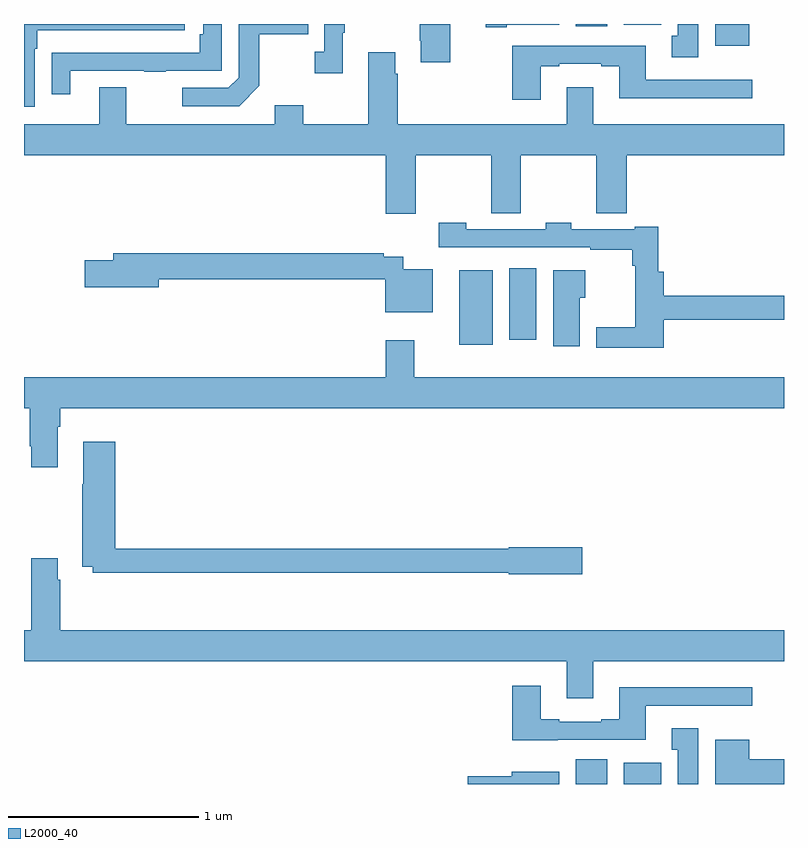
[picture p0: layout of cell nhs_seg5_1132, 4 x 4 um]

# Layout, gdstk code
import gdstk
lib = gdstk.Library(unit=1e-6, precision=1e-09)
def R(c, l, rs):  # rectangles x0, y0, x1, y1
    for r in rs: c.add(gdstk.rectangle(r[:2], r[2:], *l))
def P(c, l, *ps):  # polygons
    for p in ps: c.add(gdstk.Polygon(p, *l))
L2000_40 = (2000, 40)

nhs_seg5_1132 = lib.new_cell('nhs_seg5_1132')
R(nhs_seg5_1132, L2000_40, [(183.905,838.799,184.069,838.93), (184.157,838.799,184.354,838.912), (183.29,841.112,183.466,841.504), (183.554,841.137,183.697,841.513), (184.637,842.684,184.816,842.799), (183.905,842.787,184.069,842.799), (184.157,842.796,184.353,842.799)])
P(nhs_seg5_1132, L2000_40, [(183.541,842.795),(183.817,842.795),(183.817,842.799),(183.429,842.799),(183.429,842.783),(183.541,842.783)],
  [(182.677,842.753),(182.689,842.753),(182.689,842.799),(182.58,842.799),(182.58,842.654),(182.529,842.654),(182.529,842.541),(182.677,842.541)],
  [(183.244,842.799),(183.082,842.799),(183.082,842.71),(183.089,842.71),(183.089,842.598),(183.244,842.598)],
  [(181.056,842.669),(181.069,842.669),(181.069,842.766),(181.846,842.766),(181.846,842.799),(181,842.799),(181,842.364),(181.056,842.364)],
  [(184.549,842.799),(184.442,842.799),(184.442,842.737),(184.409,842.737),(184.409,842.625),(184.549,842.625)],
  [(182.239,842.473),(182.239,842.746),(182.495,842.746),(182.495,842.799),(182.13,842.799),(182.13,842.517),(182.076,842.463),(181.833,842.463),(181.833,842.367),(182.133,842.367)],
  [(181.243,842.553),(181.633,842.553),(181.633,842.548),(181.745,842.548),(181.745,842.553),(182.04,842.553),(182.04,842.799),(181.944,842.799),(181.944,842.746),(181.924,842.746),(181.924,842.649),(181.249,842.649),(181.249,842.648),(181.147,842.648),(181.147,842.43),(181.243,842.43)],
  [(183.721,842.577),(183.817,842.577),(183.817,842.589),(184.037,842.589),(184.037,842.577),(184.133,842.577),(184.133,842.408),(184.834,842.408),(184.834,842.505),(184.273,842.505),(184.273,842.685),(183.569,842.685),(183.569,842.4),(183.721,842.4)],
  [(183.063,842.108),(183.46,842.108),(183.46,841.804),(183.614,841.804),(183.614,842.108),(184.012,842.108),(184.012,841.804),(184.172,841.804),(184.172,842.108),(185,842.108),(185,842.272),(183.997,842.272),(183.997,842.467),(183.857,842.467),(183.857,842.272),(182.966,842.272),(182.966,842.537),(182.953,842.537),(182.953,842.65),(182.813,842.65),(182.813,842.272),(182.469,842.272),(182.469,842.371),(182.321,842.371),(182.321,842.272),(181.537,842.272),(181.537,842.467),(181.397,842.467),(181.397,842.272),(181,842.272),(181,842.108),(182.903,842.108),(182.903,841.8),(183.063,841.8)],
  [(184.367,841.242),(185,841.242),(185,841.37),(184.367,841.37),(184.367,841.495),(184.337,841.495),(184.337,841.732),(184.214,841.732),(184.214,841.719),(183.879,841.719),(183.879,841.752),(183.747,841.752),(183.747,841.719),(183.327,841.719),(183.327,841.752),(183.183,841.752),(183.183,841.623),(183.979,841.623),(183.979,841.611),(184.201,841.611),(184.201,841.526),(184.216,841.526),(184.216,841.204),(184.011,841.204),(184.011,841.094),(184.367,841.094)],
  [(183.151,841.507),(182.997,841.507),(182.997,841.575),(182.894,841.575),(182.894,841.592),(181.469,841.592),(181.469,841.556),(181.32,841.556),(181.32,841.414),(181.708,841.414),(181.708,841.456),(182.901,841.456),(182.901,841.283),(183.151,841.283)],
  [(183.925,841.357),(183.955,841.357),(183.955,841.504),(183.785,841.504),(183.785,841.104),(183.925,841.104)],
  [(181.177,840.68),(181.19,840.68),(181.19,840.776),(185,840.776),(185,840.94),(183.055,840.94),(183.055,841.135),(182.903,841.135),(182.903,840.94),(181,840.94),(181,840.776),(181.03,840.776),(181.03,840.577),(181.037,840.577),(181.037,840.465),(181.177,840.465)],
  [(183.937,840.044),(183.552,840.044),(183.552,840.038),(181.481,840.038),(181.481,840.601),(181.313,840.601),(181.313,840.377),(181.306,840.377),(181.306,839.942),(181.362,839.942),(181.362,839.91),(183.552,839.91),(183.552,839.902),(183.937,839.902)],
  [(183.997,839.444),(185,839.444),(185,839.608),(181.19,839.608),(181.19,839.873),(181.177,839.873),(181.177,839.986),(181.037,839.986),(181.037,839.608),(181,839.608),(181,839.444),(183.857,839.444),(183.857,839.25),(183.997,839.25)],
  [(183.809,839.031),(184.273,839.031),(184.273,839.211),(184.834,839.211),(184.834,839.308),(184.133,839.308),(184.133,839.14),(184.037,839.14),(184.037,839.127),(183.817,839.127),(183.817,839.14),(183.721,839.14),(183.721,839.317),(183.569,839.317),(183.569,839.03),(183.809,839.03)],
  [(184.549,839.092),(184.409,839.092),(184.409,838.979),(184.442,838.979),(184.442,838.799),(184.549,838.799)],
  [(185,838.928),(184.816,838.928),(184.816,839.032),(184.637,839.032),(184.637,838.799),(185,838.799)],
  [(183.817,838.864),(183.566,838.864),(183.566,838.841),(183.336,838.841),(183.336,838.799),(183.817,838.799)])

lib.write_gds('nhs_seg5_1132.gds')
